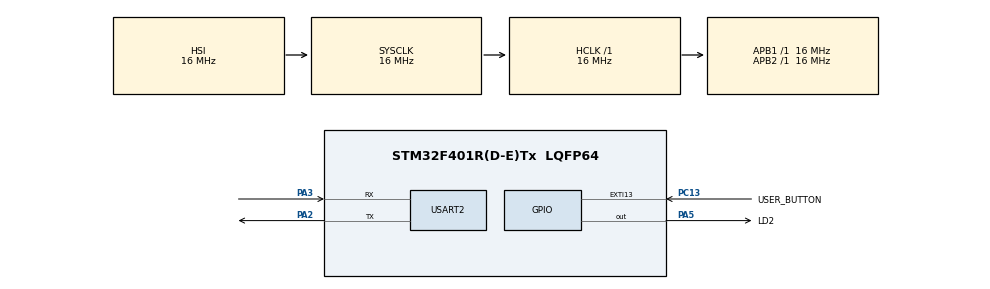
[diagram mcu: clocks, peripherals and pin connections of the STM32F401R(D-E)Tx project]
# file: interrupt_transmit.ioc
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Mcu.Family=STM32F4
Mcu.Name=STM32F401R(D-E)Tx
Mcu.Package=LQFP64
NVIC.EXTI15_10_IRQn=true\:8\:0\:true\:false\:true\:true\:true
NVIC.PriorityGroup=NVIC_PRIORITYGROUP_4
NVIC.USART2_IRQn=true\:12\:0\:true\:false\:true\:true\:true
PA13.Mode=Serial_Wire
PA13.Signal=SYS_JTMS-SWDIO
PA14.Mode=Serial_Wire
PA14.Signal=SYS_JTCK-SWCLK
PA2.Mode=Asynchronous
PA2.Signal=USART2_TX
PA3.Mode=Asynchronous
PA3.Signal=USART2_RX
PA5.GPIO_Label=LD2
PA5.Signal=GPIO_Output
PC13-ANTI_TAMP.GPIO_Label=USER_BUTTON
PC13-ANTI_TAMP.Signal=GPXTI13
ProjectManager.HeapSize=0x200
ProjectManager.StackSize=0x400
ProjectManager.TargetToolchain=STM32CubeIDE
RCC.AHBFreq_Value=16000000
RCC.APB1Freq_Value=16000000
RCC.APB2Freq_Value=16000000
RCC.CortexFreq_Value=16000000
RCC.HSE_VALUE=25000000
RCC.HSI_VALUE=16000000
RCC.LSE_VALUE=32768
RCC.SYSCLKFreq_VALUE=16000000
RCC.VCOOutputFreq_Value=192000000
USART2.VirtualMode=VM_ASYNC
board=custom

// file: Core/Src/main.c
/* USER CODE BEGIN Header */
/**
  ******************************************************************************
  * @file           : main.c
  * @brief          : Main program body
  ******************************************************************************
  * @attention
  *
  * Copyright (c) 2023 STMicroelectronics.
  * All rights reserved.
  *
  * This software is licensed under terms that can be found in the LICENSE file
  * in the root directory of this software component.
  * If no LICENSE file comes with this software, it is provided AS-IS.
  *
  ******************************************************************************
  */
/* USER CODE END Header */
#include "main.h"

/* USER CODE BEGIN Includes */
#include <stdio.h>
#include <string.h>
#include <stdbool.h>
/* USER CODE END Includes */

UART_HandleTypeDef huart2;

void SystemClock_Config(void);
static void MX_GPIO_Init(void);
static void MX_USART2_UART_Init(void);

/* USER CODE BEGIN 0 */
int __io_putchar(int ch)
{
  if (ch == '\n') {
    __io_putchar('\r');
  }

  HAL_UART_Transmit(&huart2, (uint8_t*)&ch, 1, HAL_MAX_DELAY);

  return 1;
}
volatile uint32_t push_counter;
void HAL_GPIO_EXTI_Callback(uint16_t GPIO_Pin)
{
  if (GPIO_Pin == USER_BUTTON_Pin) {
	  push_counter++;

  }
}

typedef enum {
  MESSAGE_1,
  MESSAGE_2,
  DONE
}sender_state;

sender_state message_number = MESSAGE_1;

void send_next_message(void)
{
  static char message[] = "Hello World!\r\n";
  static char message2[] = "Ala ma kota!\r\n";

  switch (message_number)
  {
  case 0:
    HAL_UART_Transmit_IT(&huart2, (uint8_t*)message, strlen(message));
    message_number = 1;
    break;
  case 1:
    HAL_UART_Transmit_IT(&huart2, (uint8_t*)message2, strlen(message2));
    message_number = 2;
    break;
  default:
    break;
  }

}
void HAL_UART_TxCpltCallback(UART_HandleTypeDef *huart)
{
  if (huart == &huart2) {
    send_next_message();
  }
}
/* USER CODE END 0 */

int main(void)
{

  /* MCU Configuration--------------------------------------------------------*/

  /* Reset of all peripherals, Initializes the Flash interface and the Systick. */
  HAL_Init();

  /* Configure the system clock */
  SystemClock_Config();

  /* Initialize all configured peripherals */
  MX_GPIO_Init();
  MX_USART2_UART_Init();
  /* USER CODE BEGIN 2 */
  send_next_message();
  /* USER CODE END 2 */

  /* Infinite loop */
  /* USER CODE BEGIN WHILE */
  uint32_t old_push_counter = push_counter;
   while (1)
   {
     if (old_push_counter != push_counter) {
       old_push_counter = push_counter;
       printf("counter = %lu\n", old_push_counter);
     }
    /* USER CODE END WHILE */

  }
}

void SystemClock_Config(void)
{
  RCC_OscInitTypeDef RCC_OscInitStruct = {0};
  RCC_ClkInitTypeDef RCC_ClkInitStruct = {0};

  /** Configure the main internal regulator output voltage
  */
  __HAL_RCC_PWR_CLK_ENABLE();
  __HAL_PWR_VOLTAGESCALING_CONFIG(PWR_REGULATOR_VOLTAGE_SCALE2);
  /** Initializes the RCC Oscillators according to the specified parameters
  * in the RCC_OscInitTypeDef structure.
  */
  RCC_OscInitStruct.OscillatorType = RCC_OSCILLATORTYPE_HSI;
  RCC_OscInitStruct.HSIState = RCC_HSI_ON;
  RCC_OscInitStruct.HSICalibrationValue = RCC_HSICALIBRATION_DEFAULT;
  RCC_OscInitStruct.PLL.PLLState = RCC_PLL_NONE;
  if (HAL_RCC_OscConfig(&RCC_OscInitStruct) != HAL_OK)
  {
    Error_Handler();
  }
  /** Initializes the CPU, AHB and APB buses clocks
  */
  RCC_ClkInitStruct.ClockType = RCC_CLOCKTYPE_HCLK|RCC_CLOCKTYPE_SYSCLK
                              |RCC_CLOCKTYPE_PCLK1|RCC_CLOCKTYPE_PCLK2;
  RCC_ClkInitStruct.SYSCLKSource = RCC_SYSCLKSOURCE_HSI;
  RCC_ClkInitStruct.AHBCLKDivider = RCC_SYSCLK_DIV1;
  RCC_ClkInitStruct.APB1CLKDivider = RCC_HCLK_DIV1;
  RCC_ClkInitStruct.APB2CLKDivider = RCC_HCLK_DIV1;

  if (HAL_RCC_ClockConfig(&RCC_ClkInitStruct, FLASH_LATENCY_0) != HAL_OK)
  {
    Error_Handler();
  }
}

static void MX_USART2_UART_Init(void)
{

  huart2.Instance = USART2;
  huart2.Init.BaudRate = 115200;
  huart2.Init.WordLength = UART_WORDLENGTH_8B;
  huart2.Init.StopBits = UART_STOPBITS_1;
  huart2.Init.Parity = UART_PARITY_NONE;
  huart2.Init.Mode = UART_MODE_TX_RX;
  huart2.Init.HwFlowCtl = UART_HWCONTROL_NONE;
  huart2.Init.OverSampling = UART_OVERSAMPLING_16;
  if (HAL_UART_Init(&huart2) != HAL_OK)
  {
    Error_Handler();
  }

}

static void MX_GPIO_Init(void)
{
  GPIO_InitTypeDef GPIO_InitStruct = {0};

  /* GPIO Ports Clock Enable */
  __HAL_RCC_GPIOC_CLK_ENABLE();
  __HAL_RCC_GPIOA_CLK_ENABLE();

  /*Configure GPIO pin Output Level */
  HAL_GPIO_WritePin(LD2_GPIO_Port, LD2_Pin, GPIO_PIN_RESET);

  /*Configure GPIO pin : USER_BUTTON_Pin */
  GPIO_InitStruct.Pin = USER_BUTTON_Pin;
  GPIO_InitStruct.Mode = GPIO_MODE_IT_RISING;
  GPIO_InitStruct.Pull = GPIO_NOPULL;
  HAL_GPIO_Init(USER_BUTTON_GPIO_Port, &GPIO_InitStruct);

  /*Configure GPIO pin : LD2_Pin */
  GPIO_InitStruct.Pin = LD2_Pin;
  GPIO_InitStruct.Mode = GPIO_MODE_OUTPUT_PP;
  GPIO_InitStruct.Pull = GPIO_NOPULL;
  GPIO_InitStruct.Speed = GPIO_SPEED_FREQ_LOW;
  HAL_GPIO_Init(LD2_GPIO_Port, &GPIO_InitStruct);

  /* EXTI interrupt init*/
  HAL_NVIC_SetPriority(EXTI15_10_IRQn, 8, 0);
  HAL_NVIC_EnableIRQ(EXTI15_10_IRQn);

}

void Error_Handler(void)
{
  __disable_irq();
  while (1)
  {
  }
}
